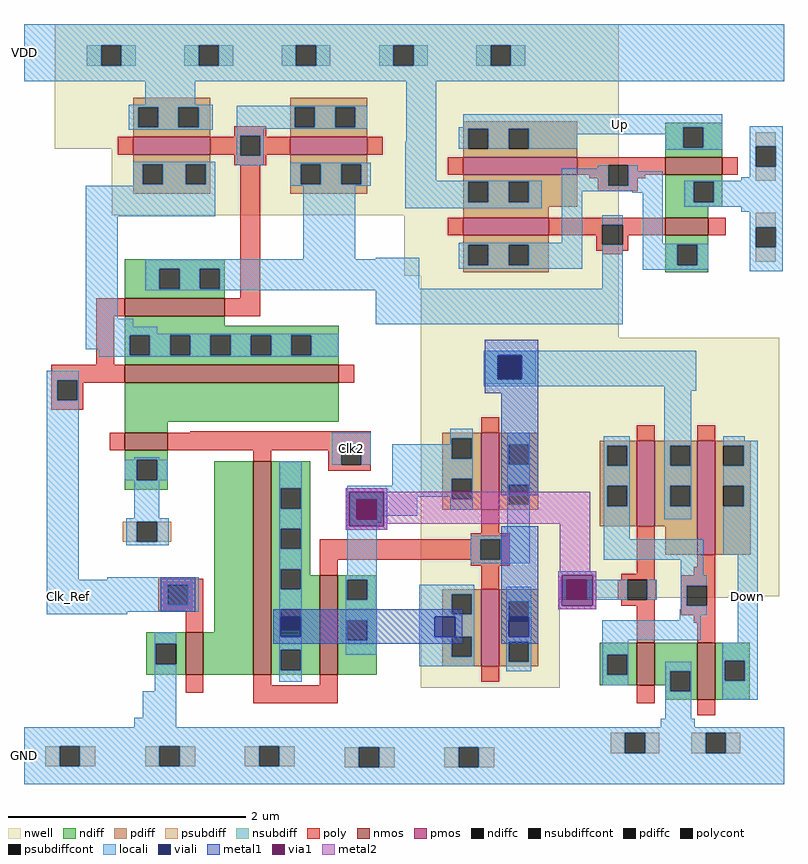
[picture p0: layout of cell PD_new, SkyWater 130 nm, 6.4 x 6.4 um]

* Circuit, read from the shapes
.subckt PD_new Clk_Ref Clk2 VDD GND Up Down
XM1 n1 Clk2 GND GND sky130_fd_pr__nfet_01v8 w=0.36 l=0.15
XM2 n2 Clk_Ref n1 GND sky130_fd_pr__nfet_01v8 w=1.8 l=0.15
XM3 n3 Clk_Ref n2 GND sky130_fd_pr__nfet_01v8 w=0.84 l=0.15
XM4 n4 Clk_Ref GND GND sky130_fd_pr__nfet_01v8 w=0.36 l=0.15
XM5 n5 Clk2 n4 GND sky130_fd_pr__nfet_01v8 w=1.8 l=0.15
XM6 n6 Clk2 n5 GND sky130_fd_pr__nfet_01v8 w=0.84 l=0.15
XM7 GND n6 n7 GND sky130_fd_pr__nfet_01v8 w=0.36 l=0.15
XM8 GND n3 n8 GND sky130_fd_pr__nfet_01v8 w=0.36 l=0.15
XM9 Up n8 GND GND sky130_fd_pr__nfet_01v8 w=0.48 l=0.15
XM10 Down n7 GND GND sky130_fd_pr__nfet_01v8 w=0.48 l=0.15
XM11 VDD Clk_Ref n2 VDD sky130_fd_pr__pfet_01v8 w=0.65 l=0.15
XM12 Clk_Ref Clk_Ref n3 VDD sky130_fd_pr__pfet_01v8 w=0.65 l=0.15
XM13 VDD n3 n8 VDD sky130_fd_pr__pfet_01v8 w=0.72 l=0.15
XM14 Up n8 VDD VDD sky130_fd_pr__pfet_01v8 w=0.96 l=0.15
XM15 n9 Clk2 n5 VDD sky130_fd_pr__pfet_01v8 w=0.65 l=0.15
XM16 Clk2 Clk2 n6 VDD sky130_fd_pr__pfet_01v8 w=0.65 l=0.15
XM17 VDD n6 n7 VDD sky130_fd_pr__pfet_01v8 w=0.72 l=0.15
XM18 Down n7 VDD VDD sky130_fd_pr__pfet_01v8 w=0.96 l=0.15
.ends

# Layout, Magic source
magic
tech sky130A
<< nwell >>
rect -59 287 416 392
rect -11 231 416 287
rect 235 180 416 231
rect 249 128 416 180
rect 249 -90 551 128
rect 249 -91 508 -90
rect 249 -167 366 -91
<< nmos >>
rect 455 265 503 280
rect 455 214 491 229
rect 0 146 84 161
rect 0 90 180 105
rect 0 33 36 48
rect 51 -156 66 -120
rect 108 -156 123 24
rect 164 -156 179 -72
rect 431 -165 446 -129
rect 482 -177 497 -129
<< pmos >>
rect 7 282 72 297
rect 139 282 204 297
rect 285 265 381 280
rect 285 214 357 229
rect 300 -17 315 48
rect 431 -31 446 41
rect 482 -55 497 41
rect 300 -149 315 -84
<< ndiff >>
rect 455 305 503 309
rect 455 288 470 305
rect 487 288 503 305
rect 455 280 503 288
rect 0 186 84 194
rect 0 169 29 186
rect 46 169 63 186
rect 80 169 84 186
rect 0 161 84 169
rect 455 259 503 265
rect 455 242 479 259
rect 496 242 503 259
rect 455 238 503 242
rect 455 229 491 238
rect 455 206 491 214
rect 455 189 465 206
rect 482 189 491 206
rect 455 183 491 189
rect 0 138 84 146
rect 0 130 180 138
rect 0 113 4 130
rect 21 113 38 130
rect 55 113 72 130
rect 89 113 106 130
rect 123 113 140 130
rect 157 113 180 130
rect 0 105 180 113
rect 0 57 180 90
rect 0 48 36 57
rect 0 25 36 33
rect 0 8 10 25
rect 27 8 36 25
rect 0 0 36 8
rect 75 -120 108 24
rect 18 -130 51 -120
rect 18 -147 26 -130
rect 43 -147 51 -130
rect 18 -156 51 -147
rect 66 -156 108 -120
rect 123 1 156 24
rect 123 -16 131 1
rect 148 -16 156 1
rect 123 -33 156 -16
rect 123 -50 131 -33
rect 148 -50 156 -33
rect 123 -67 156 -50
rect 123 -84 131 -67
rect 148 -72 156 -67
rect 148 -84 164 -72
rect 123 -101 164 -84
rect 123 -118 131 -101
rect 148 -118 164 -101
rect 123 -135 164 -118
rect 123 -152 131 -135
rect 148 -152 164 -135
rect 123 -156 164 -152
rect 179 -76 212 -72
rect 179 -93 187 -76
rect 204 -93 212 -76
rect 179 -110 212 -93
rect 179 -127 187 -110
rect 204 -127 212 -110
rect 179 -156 212 -127
rect 400 -139 431 -129
rect 400 -156 406 -139
rect 423 -156 431 -139
rect 400 -165 431 -156
rect 446 -153 482 -129
rect 446 -165 459 -153
rect 455 -170 459 -165
rect 476 -170 482 -153
rect 455 -177 482 -170
rect 497 -144 526 -129
rect 497 -161 505 -144
rect 522 -161 526 -144
rect 497 -177 526 -161
<< pdiff >>
rect 7 322 72 330
rect 7 305 11 322
rect 28 305 45 322
rect 62 305 72 322
rect 139 322 204 330
rect 7 297 72 305
rect 7 274 72 282
rect 7 257 15 274
rect 32 257 51 274
rect 68 257 72 274
rect 139 305 143 322
rect 160 305 177 322
rect 194 305 204 322
rect 139 297 204 305
rect 285 304 381 310
rect 285 287 289 304
rect 306 287 323 304
rect 340 287 381 304
rect 139 274 204 282
rect 285 280 381 287
rect 7 249 72 257
rect 139 257 148 274
rect 165 257 182 274
rect 199 257 204 274
rect 139 249 204 257
rect 285 259 381 265
rect 285 242 289 259
rect 306 242 323 259
rect 340 242 381 259
rect 285 238 381 242
rect 285 229 357 238
rect 285 206 357 214
rect 285 189 289 206
rect 306 189 323 206
rect 340 189 357 206
rect 285 183 357 189
rect 267 43 300 48
rect 267 26 275 43
rect 292 26 300 43
rect 267 9 300 26
rect 267 -8 275 9
rect 292 -8 300 9
rect 267 -17 300 -8
rect 315 38 348 48
rect 315 21 323 38
rect 340 21 348 38
rect 315 4 348 21
rect 315 -13 323 4
rect 340 -13 348 4
rect 315 -17 348 -13
rect 400 37 431 41
rect 400 20 406 37
rect 423 20 431 37
rect 400 3 431 20
rect 400 -14 406 3
rect 423 -14 431 3
rect 400 -31 431 -14
rect 446 37 482 41
rect 446 20 459 37
rect 476 20 482 37
rect 446 3 482 20
rect 446 -14 459 3
rect 476 -14 482 3
rect 446 -31 482 -14
rect 455 -55 482 -31
rect 497 37 527 41
rect 497 20 504 37
rect 521 20 527 37
rect 497 3 527 20
rect 497 -14 504 3
rect 521 -14 527 3
rect 497 -55 527 -14
rect 267 -88 300 -84
rect 267 -105 275 -88
rect 292 -105 300 -88
rect 267 -124 300 -105
rect 267 -141 275 -124
rect 292 -141 300 -124
rect 267 -149 300 -141
rect 315 -94 348 -84
rect 315 -111 323 -94
rect 340 -111 348 -94
rect 315 -128 348 -111
rect 315 -145 323 -128
rect 340 -145 348 -128
rect 315 -149 348 -145
<< ndiffc >>
rect 470 288 487 305
rect 29 169 46 186
rect 63 169 80 186
rect 479 242 496 259
rect 465 189 482 206
rect 4 113 21 130
rect 38 113 55 130
rect 72 113 89 130
rect 106 113 123 130
rect 140 113 157 130
rect 10 8 27 25
rect 26 -147 43 -130
rect 131 -16 148 1
rect 131 -50 148 -33
rect 131 -84 148 -67
rect 131 -118 148 -101
rect 131 -152 148 -135
rect 187 -93 204 -76
rect 187 -127 204 -110
rect 406 -156 423 -139
rect 459 -170 476 -153
rect 505 -161 522 -144
<< pdiffc >>
rect 11 305 28 322
rect 45 305 62 322
rect 15 257 32 274
rect 51 257 68 274
rect 143 305 160 322
rect 177 305 194 322
rect 289 287 306 304
rect 323 287 340 304
rect 148 257 165 274
rect 182 257 199 274
rect 289 242 306 259
rect 323 242 340 259
rect 289 189 306 206
rect 323 189 340 206
rect 275 26 292 43
rect 275 -8 292 9
rect 323 21 340 38
rect 323 -13 340 4
rect 406 20 423 37
rect 406 -14 423 3
rect 459 20 476 37
rect 459 -14 476 3
rect 504 20 521 37
rect 504 -14 521 3
rect 275 -105 292 -88
rect 275 -141 292 -124
rect 323 -111 340 -94
rect 323 -145 340 -128
<< psubdiff >>
rect 531 289 548 301
rect 531 260 548 272
rect 531 221 548 233
rect 531 192 548 204
rect -2 -44 10 -27
rect 27 -44 39 -27
rect -67 -233 -55 -216
rect -38 -233 -25 -216
rect 17 -233 29 -216
rect 46 -233 59 -216
rect 101 -233 113 -216
rect 130 -233 143 -216
rect 185 -234 197 -217
rect 214 -234 227 -217
rect 269 -234 281 -217
rect 298 -234 311 -217
rect 409 -222 421 -205
rect 438 -222 450 -205
rect 477 -222 489 -205
rect 506 -222 518 -205
<< nsubdiff >>
rect -32 357 -20 374
rect -3 357 9 374
rect 50 357 62 374
rect 79 357 91 374
rect 132 357 144 374
rect 161 357 173 374
rect 214 357 226 374
rect 243 357 255 374
rect 296 357 308 374
rect 325 357 337 374
rect 302 113 346 117
rect 302 93 314 113
rect 334 93 346 113
rect 302 89 346 93
<< psubdiffcont >>
rect 531 272 548 289
rect 531 204 548 221
rect 10 -44 27 -27
rect -55 -233 -38 -216
rect 29 -233 46 -216
rect 113 -233 130 -216
rect 197 -234 214 -217
rect 281 -234 298 -217
rect 421 -222 438 -205
rect 489 -222 506 -205
<< nsubdiffcont >>
rect -20 357 -3 374
rect 62 357 79 374
rect 144 357 161 374
rect 226 357 243 374
rect 308 357 325 374
rect 314 93 334 113
<< poly >>
rect 92 298 119 306
rect 92 297 97 298
rect -6 282 7 297
rect 72 282 97 297
rect 92 281 97 282
rect 114 297 119 298
rect 114 282 139 297
rect 204 282 217 297
rect 114 281 119 282
rect 92 273 119 281
rect 97 161 114 273
rect 272 265 285 280
rect 381 273 455 280
rect 381 265 407 273
rect 391 262 407 265
rect 398 256 407 262
rect 424 265 455 273
rect 503 265 516 280
rect 424 262 438 265
rect 424 256 432 262
rect 398 251 432 256
rect 272 214 285 229
rect 357 223 455 229
rect 357 214 402 223
rect 397 206 402 214
rect 419 214 455 223
rect 491 214 506 229
rect 419 206 424 214
rect 397 201 424 206
rect 402 198 419 201
rect -24 146 0 161
rect 84 146 114 161
rect -24 105 -9 146
rect -62 92 0 105
rect -62 75 -57 92
rect -40 90 0 92
rect 180 90 193 105
rect -40 75 -35 90
rect -62 67 -35 75
rect 55 48 207 49
rect 300 48 315 61
rect -13 33 0 48
rect 36 38 207 48
rect 36 33 182 38
rect 108 24 123 33
rect 28 -80 66 -75
rect 28 -97 36 -80
rect 53 -97 66 -80
rect 28 -102 66 -97
rect 51 -120 66 -102
rect 171 21 182 33
rect 199 21 207 38
rect 171 16 207 21
rect 431 41 446 54
rect 482 41 497 54
rect 300 -37 315 -17
rect 291 -42 324 -37
rect 164 -59 299 -42
rect 316 -59 324 -42
rect 164 -72 179 -59
rect 291 -64 324 -59
rect 300 -84 315 -64
rect 431 -71 446 -31
rect 482 -65 497 -55
rect 418 -76 446 -71
rect 479 -72 497 -65
rect 415 -93 423 -76
rect 440 -93 447 -76
rect 468 -81 497 -72
rect 418 -98 446 -93
rect 431 -129 446 -98
rect 468 -98 473 -81
rect 490 -98 497 -81
rect 468 -106 497 -98
rect 479 -112 497 -106
rect 482 -129 497 -112
rect 51 -171 66 -156
rect 108 -165 123 -156
rect 164 -165 179 -156
rect 300 -162 315 -149
rect 108 -180 179 -165
rect 431 -180 446 -165
rect 482 -190 497 -177
<< polycont >>
rect 97 281 114 298
rect 407 256 424 273
rect 402 206 419 223
rect -57 75 -40 92
rect 36 -97 53 -80
rect 182 21 199 38
rect 299 -59 316 -42
rect 423 -93 440 -76
rect 473 -98 490 -81
<< locali >>
rect -85 374 555 392
rect -85 357 -20 374
rect -3 357 62 374
rect 79 357 144 374
rect 161 357 226 374
rect 243 357 308 374
rect 325 357 555 374
rect -85 344 555 357
rect 17 324 59 344
rect 3 322 74 324
rect 3 305 11 322
rect 28 305 45 322
rect 62 305 74 322
rect 3 303 74 305
rect 94 322 204 323
rect 94 305 143 322
rect 160 305 177 322
rect 194 305 204 322
rect 94 304 204 305
rect 94 298 117 304
rect 94 281 97 298
rect 114 281 117 298
rect 237 293 262 344
rect 285 305 503 316
rect 7 274 76 276
rect 7 257 15 274
rect 32 257 51 274
rect 68 257 76 274
rect 94 273 117 281
rect 139 274 207 275
rect 7 256 76 257
rect 139 257 148 274
rect 165 257 182 274
rect 199 257 207 274
rect 139 256 207 257
rect 236 260 262 293
rect 281 304 470 305
rect 281 287 289 304
rect 306 287 323 304
rect 340 299 470 304
rect 340 287 381 299
rect 455 288 470 299
rect 487 288 503 305
rect 455 286 503 288
rect 526 289 554 306
rect 398 270 407 273
rect 236 259 351 260
rect -33 230 76 256
rect -33 144 -6 230
rect 150 194 194 256
rect 236 242 289 259
rect 306 242 323 259
rect 340 242 351 259
rect 236 237 351 242
rect 368 256 407 270
rect 424 268 432 273
rect 526 272 531 289
rect 548 272 554 289
rect 424 256 453 268
rect 526 263 554 272
rect 519 260 554 263
rect 368 251 453 256
rect 368 208 385 251
rect 427 250 453 251
rect 281 206 385 208
rect 211 194 248 195
rect 17 186 248 194
rect 281 189 289 206
rect 306 189 323 206
rect 340 189 385 206
rect 281 186 385 189
rect 402 223 419 231
rect 17 169 29 186
rect 46 169 63 186
rect 80 169 248 186
rect 402 169 419 206
rect 436 207 453 250
rect 471 259 554 260
rect 471 242 479 259
rect 496 242 554 259
rect 471 238 554 242
rect 519 234 554 238
rect 526 221 554 234
rect 436 206 491 207
rect 436 189 465 206
rect 482 189 491 206
rect 436 185 491 189
rect 526 204 531 221
rect 548 204 554 221
rect 526 184 554 204
rect 17 168 419 169
rect -33 137 7 144
rect 211 139 419 168
rect -33 131 27 137
rect -33 130 180 131
rect -33 118 4 130
rect -22 113 4 118
rect 21 113 38 130
rect 55 113 72 130
rect 89 113 106 130
rect 123 113 140 130
rect 157 113 180 130
rect -22 112 180 113
rect 302 113 481 117
rect -66 92 -39 100
rect -66 75 -57 92
rect -40 75 -39 92
rect 302 93 314 113
rect 334 93 481 113
rect 302 87 481 93
rect -66 -76 -39 75
rect 454 83 481 87
rect 174 38 207 48
rect 274 43 293 51
rect 274 38 275 43
rect 8 25 29 27
rect 0 8 10 25
rect 27 8 36 25
rect 8 -24 29 8
rect 130 1 149 24
rect 174 21 182 38
rect 199 21 207 38
rect 225 26 275 38
rect 292 26 293 43
rect 225 9 293 26
rect 225 3 275 9
rect 130 -16 131 1
rect 148 -16 149 1
rect 1 -27 37 -24
rect 1 -44 10 -27
rect 27 -44 37 -27
rect 1 -47 37 -44
rect 130 -33 149 -16
rect 130 -50 131 -33
rect 148 -50 149 -33
rect 130 -67 149 -50
rect -15 -76 62 -74
rect -66 -80 62 -76
rect -66 -97 36 -80
rect 53 -97 62 -80
rect -66 -103 62 -97
rect 130 -84 131 -67
rect 148 -84 149 -67
rect 187 -6 275 3
rect 187 -8 246 -6
rect 187 -25 195 -8
rect 212 -22 246 -8
rect 274 -8 275 -6
rect 292 -8 293 9
rect 274 -17 293 -8
rect 322 38 341 48
rect 322 21 323 38
rect 340 21 341 38
rect 322 4 341 21
rect 322 -13 323 4
rect 340 -13 341 4
rect 212 -25 216 -22
rect 187 -28 216 -25
rect 187 -72 212 -28
rect 322 -39 341 -13
rect 291 -42 341 -39
rect 291 -59 299 -42
rect 316 -59 341 -42
rect 403 37 425 45
rect 403 20 406 37
rect 423 20 425 37
rect 403 3 425 20
rect 403 -14 406 3
rect 423 -14 425 3
rect 403 -42 425 -14
rect 454 37 477 83
rect 454 20 459 37
rect 476 20 477 37
rect 454 3 477 20
rect 454 -14 459 3
rect 476 -14 477 3
rect 454 -25 477 -14
rect 504 41 522 45
rect 504 37 533 41
rect 521 20 533 37
rect 504 3 533 20
rect 521 -14 533 3
rect 403 -59 487 -42
rect 504 -55 533 -14
rect 291 -62 341 -59
rect 130 -101 149 -84
rect -66 -105 2 -103
rect 25 -130 43 -120
rect 25 -147 26 -130
rect 25 -170 43 -147
rect 130 -124 131 -101
rect 148 -124 149 -101
rect 130 -135 149 -124
rect 130 -152 131 -135
rect 148 -152 149 -135
rect 186 -76 212 -72
rect 468 -72 487 -59
rect 186 -93 187 -76
rect 204 -93 212 -76
rect 186 -110 212 -93
rect 186 -127 187 -110
rect 204 -127 212 -110
rect 186 -139 212 -127
rect 248 -88 294 -80
rect 248 -105 275 -88
rect 292 -105 294 -88
rect 248 -107 294 -105
rect 248 -124 261 -107
rect 278 -124 294 -107
rect 248 -141 275 -124
rect 292 -141 294 -124
rect 248 -149 294 -141
rect 321 -94 342 -82
rect 366 -93 372 -76
rect 389 -93 423 -76
rect 440 -93 448 -76
rect 468 -81 490 -72
rect 321 -124 323 -94
rect 340 -124 342 -94
rect 468 -98 473 -81
rect 468 -101 490 -98
rect 467 -106 490 -101
rect 467 -110 485 -106
rect 321 -128 342 -124
rect 321 -145 323 -128
rect 340 -145 342 -128
rect 130 -162 149 -152
rect 321 -153 342 -145
rect 402 -127 485 -110
rect 402 -139 424 -127
rect 516 -129 533 -55
rect 402 -156 406 -139
rect 423 -156 424 -139
rect 503 -144 533 -129
rect 402 -165 424 -156
rect 455 -153 477 -145
rect 15 -192 43 -170
rect 8 -200 43 -192
rect 455 -170 459 -153
rect 476 -170 477 -153
rect 455 -193 477 -170
rect 503 -161 505 -144
rect 522 -161 533 -144
rect 503 -177 533 -161
rect 451 -200 480 -193
rect -85 -205 555 -200
rect -85 -216 421 -205
rect -85 -233 -55 -216
rect -38 -233 29 -216
rect 46 -233 113 -216
rect 130 -217 421 -216
rect 130 -233 197 -217
rect -85 -234 197 -233
rect 214 -234 281 -217
rect 298 -222 421 -217
rect 438 -222 489 -205
rect 506 -222 555 -205
rect 298 -234 555 -222
rect -85 -248 555 -234
<< viali >>
rect 314 93 334 113
rect 195 -25 212 -8
rect 131 -118 148 -107
rect 131 -124 148 -118
rect 261 -124 278 -107
rect 372 -93 389 -76
rect 323 -111 340 -107
rect 323 -124 340 -111
<< metal1 >>
rect 303 113 348 126
rect 303 93 314 113
rect 334 93 348 113
rect 303 81 348 93
rect 186 -2 221 1
rect 186 -31 189 -2
rect 218 -31 221 -2
rect 317 -5 348 81
rect 186 -34 221 -31
rect 30 -103 59 -74
rect 125 -107 284 -101
rect 125 -124 131 -107
rect 148 -124 261 -107
rect 278 -124 284 -107
rect 125 -130 284 -124
rect 317 -107 348 -31
rect 365 -72 397 -69
rect 365 -98 368 -72
rect 394 -98 397 -72
rect 365 -101 397 -98
rect 317 -124 323 -107
rect 340 -124 348 -107
rect 317 -130 348 -124
<< via1 >>
rect 189 -8 218 -2
rect 189 -25 195 -8
rect 195 -25 212 -8
rect 212 -25 218 -8
rect 189 -31 218 -25
rect 368 -76 394 -72
rect 368 -93 372 -76
rect 372 -93 389 -76
rect 389 -93 394 -76
rect 368 -98 394 -93
<< metal2 >>
rect 186 -2 221 1
rect 186 -31 189 -2
rect 218 -29 392 -2
rect 218 -31 221 -29
rect 186 -34 221 -31
rect 366 -69 392 -29
rect 365 -72 397 -69
rect 365 -98 368 -72
rect 394 -98 397 -72
rect 365 -101 397 -98
<< labels >>
rlabel locali -61 -104 -34 -77 1 Clk_Ref
port 3 n
rlabel locali 182 26 199 43 1 Clk2
port 4 n
rlabel locali -85 344 -85 392 3 VDD
port 5 e
rlabel locali -85 -248 -85 -200 3 GND
port 6 e
rlabel locali 409 299 426 316 1 Up
port 7 n
rlabel locali 516 -99 533 -82 1 Down
port 8 n
<< end >>
